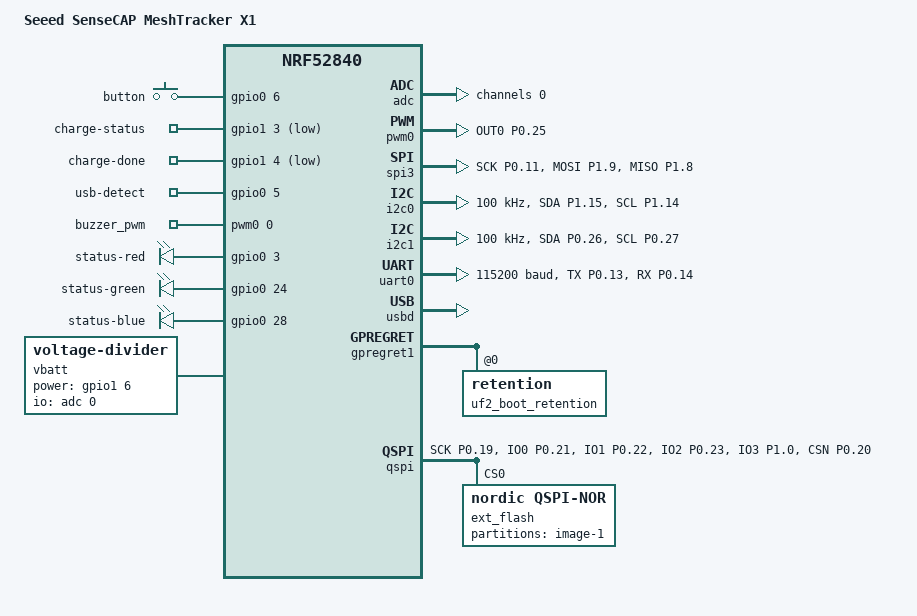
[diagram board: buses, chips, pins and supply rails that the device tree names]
/dts-v1/;
#include <nordic/nrf52840_qiaa.dtsi>
#include <zephyr/dt-bindings/adc/adc.h>
#include <zephyr/dt-bindings/adc/nrf-saadc.h>
#include <zephyr/dt-bindings/gpio/gpio.h>
#include <zephyr/dt-bindings/i2c/i2c.h>

/* TODO: fc 11nov26 every pin and address here is from the sources in README.md, unverified until #169 benches a unit */
/ {
	model = "Seeed SenseCAP MeshTracker X1";
	compatible = "seeed,meshtracker-x1";

	chosen {
		zephyr,sram = &sram0;
		zephyr,flash = &flash0;
		zephyr,code-partition = &slot0_partition;
		zephyr,console = &cdc_acm_uart0;
		zephyr,shell-uart = &cdc_acm_uart0;
	};

	aliases {
		radio-spi = &spi3;
		gnss-uart = &uart0;
		sensor-i2c = &i2c0;
		rtc-i2c = &i2c1;
		buzzer = &buzzer_pwm;
		button = &button_gpio;
		charge-status = &charge_status_gpio;
		charge-done = &charge_done_gpio;
		usb-detect = &usb_detect_gpio;
		led-green = &led_green;
		led-red = &led_red;
		led-blue = &led_blue;
		sensor-rail = &sensor_rail_gpio;
		flash-enable = &flash_enable_gpio;
		haptic-enable = &haptic_enable_gpio;
		rtc-enable = &rtc_enable_gpio;
		gnss-enable = &gnss_enable_gpio;
		gnss-reset = &gnss_reset_gpio;
		gnss-rtc-enable = &gnss_rtc_enable_gpio;
		gnss-sleep = &gnss_sleep_gpio;
		gnss-rtc-wake = &gnss_rtc_wake_gpio;
		gnss-pps = &gnss_pps_gpio;
		radio-reset = &radio_reset_gpio;
		radio-busy = &radio_busy_gpio;
		radio-irq = &radio_irq_gpio;
		rtc-interrupt = &rtc_interrupt_gpio;
		imu-interrupt = &imu_interrupt_gpio;
		magnetometer-interrupt = &magnetometer_interrupt_gpio;
		watchdog0 = &wdt0;
	};

	board_inputs {
		compatible = "gpio-keys";

		/* INFO: fc 11nov26 the one button reads high when pressed, against the SoC's pull-down */
		button_gpio: button {
			gpios = <&gpio0 6 (GPIO_ACTIVE_HIGH | GPIO_PULL_DOWN)>;
			label = "button";
		};

		/* TODO: fc 11nov26 both charger outputs read low when asserted per Meshtastic and SoftRF's T1000-E map, unverified until #169 */
		charge_status_gpio: charge_status {
			gpios = <&gpio1 3 (GPIO_ACTIVE_LOW | GPIO_PULL_UP)>;
			label = "charge-status";
		};

		charge_done_gpio: charge_done {
			gpios = <&gpio1 4 (GPIO_ACTIVE_LOW | GPIO_PULL_UP)>;
			label = "charge-done";
		};

		/* TODO: fc 11nov26 the polarity of the USB-C detect line is in no source, unverified until #169 */
		usb_detect_gpio: usb_detect {
			gpios = <&gpio0 5 GPIO_ACTIVE_HIGH>;
			label = "usb-detect";
		};
	};

	/* INFO: fc 11nov26 a pin map, never a device: disabled so CONFIG_INPUT_GPIO_KEYS cannot claim a rail enable */
	board_power_gpios {
		compatible = "gpio-keys";
		status = "disabled";

		sensor_rail_gpio: sensor_rail {
			gpios = <&gpio1 7 GPIO_ACTIVE_HIGH>;
			label = "sensor-rail";
		};

		flash_enable_gpio: flash_enable {
			gpios = <&gpio0 15 GPIO_ACTIVE_HIGH>;
			label = "flash-enable";
		};

		haptic_enable_gpio: haptic_enable {
			gpios = <&gpio1 5 GPIO_ACTIVE_HIGH>;
			label = "haptic-enable";
		};

		rtc_enable_gpio: rtc_enable {
			gpios = <&gpio0 9 GPIO_ACTIVE_HIGH>;
			label = "rtc-enable";
		};

		gnss_enable_gpio: gnss_enable {
			gpios = <&gpio1 11 GPIO_ACTIVE_HIGH>;
			label = "gnss-enable";
		};

		gnss_rtc_enable_gpio: gnss_rtc_enable {
			gpios = <&gpio1 13 GPIO_ACTIVE_HIGH>;
			label = "gnss-rtc-enable";
		};
	};

	/* INFO: fc 11nov26 the lines the parts' own drivers drive, named so the board says its whole wiring */
	board_part_gpios {
		compatible = "gpio-keys";
		status = "disabled";

		/* TODO: fc 11nov26 SoftRF and Meshtastic hold this AG3335 reset high to reset, unverified until #171 */
		gnss_reset_gpio: gnss_reset {
			gpios = <&gpio0 8 GPIO_ACTIVE_HIGH>;
			label = "gnss-reset";
		};

		gnss_sleep_gpio: gnss_sleep {
			gpios = <&gpio0 30 GPIO_ACTIVE_HIGH>;
			label = "gnss-sleep";
		};

		gnss_rtc_wake_gpio: gnss_rtc_wake {
			gpios = <&gpio0 29 GPIO_ACTIVE_HIGH>;
			label = "gnss-rtc-wake";
		};

		/* TODO: fc 11nov26 SoftRF and Seeed say GNSS PPS, Meshtastic says VCC_ADC, unverified until #171 */
		gnss_pps_gpio: gnss_pps {
			gpios = <&gpio0 4 GPIO_ACTIVE_HIGH>;
			label = "gnss-pps";
		};

		radio_reset_gpio: radio_reset {
			gpios = <&gpio1 10 GPIO_ACTIVE_LOW>;
			label = "radio-reset";
		};

		radio_busy_gpio: radio_busy {
			gpios = <&gpio0 7 GPIO_ACTIVE_HIGH>;
			label = "radio-busy";
		};

		radio_irq_gpio: radio_irq {
			gpios = <&gpio1 1 GPIO_ACTIVE_HIGH>;
			label = "radio-irq";
		};

		rtc_interrupt_gpio: rtc_interrupt {
			gpios = <&gpio0 31 GPIO_ACTIVE_HIGH>;
			label = "rtc-interrupt";
		};

		imu_interrupt_gpio: imu_interrupt {
			gpios = <&gpio1 2 GPIO_ACTIVE_HIGH>;
			label = "imu-interrupt";
		};

		magnetometer_interrupt_gpio: magnetometer_interrupt {
			gpios = <&gpio1 12 GPIO_ACTIVE_HIGH>;
			label = "magnetometer-interrupt";
		};
	};

	pwmleds {
		compatible = "pwm-leds";

		buzzer_pwm: buzzer_pwm {
			pwms = <&pwm0 0 PWM_HZ(2000) PWM_POLARITY_NORMAL>;
		};
	};

	leds {
		compatible = "gpio-leds";

		led_red: led_red {
			gpios = <&gpio0 3 GPIO_ACTIVE_HIGH>;
			label = "status-red";
		};

		led_green: led_green {
			gpios = <&gpio0 24 GPIO_ACTIVE_HIGH>;
			label = "status-green";
		};

		led_blue: led_blue {
			gpios = <&gpio0 28 GPIO_ACTIVE_HIGH>;
			label = "status-blue";
		};
	};

	/* INFO: fc 11nov26 power-gpios is the divider's own enable, so the driver raises it before the first sample */
	vbatt: vbatt {
		compatible = "voltage-divider";
		io-channels = <&adc 0>;
		output-ohms = <100000>;
		full-ohms = <200000>;
		power-gpios = <&gpio1 6 GPIO_ACTIVE_HIGH>;
	};
};

&adc {
	status = "okay";
	#address-cells = <1>;
	#size-cells = <0>;

	channel@0 {
		reg = <0>;
		zephyr,gain = "ADC_GAIN_1_6";
		zephyr,reference = "ADC_REF_INTERNAL";
		zephyr,acquisition-time = <ADC_ACQ_TIME(ADC_ACQ_TIME_MICROSECONDS, 40)>;
		zephyr,input-positive = <NRF_SAADC_AIN0>;
		zephyr,resolution = <12>;
	};
};

&pinctrl {
	spi3_default: spi3_default {
		group1 {
			psels = <NRF_PSEL(SPIM_SCK, 0, 11)>,
				<NRF_PSEL(SPIM_MOSI, 1, 9)>,
				<NRF_PSEL(SPIM_MISO, 1, 8)>;
		};
	};

	spi3_sleep: spi3_sleep {
		group1 {
			psels = <NRF_PSEL(SPIM_SCK, 0, 11)>,
				<NRF_PSEL(SPIM_MOSI, 1, 9)>,
				<NRF_PSEL(SPIM_MISO, 1, 8)>;
			low-power-enable;
		};
	};

	uart0_default: uart0_default {
		group1 {
			psels = <NRF_PSEL(UART_TX, 0, 13)>;
		};

		group2 {
			psels = <NRF_PSEL(UART_RX, 0, 14)>;
		};
	};

	uart0_sleep: uart0_sleep {
		group1 {
			psels = <NRF_PSEL(UART_TX, 0, 13)>, <NRF_PSEL(UART_RX, 0, 14)>;
			low-power-enable;
		};
	};

	i2c0_default: i2c0_default {
		group1 {
			psels = <NRF_PSEL(TWIM_SDA, 1, 15)>, <NRF_PSEL(TWIM_SCL, 1, 14)>;
		};
	};

	i2c0_sleep: i2c0_sleep {
		group1 {
			psels = <NRF_PSEL(TWIM_SDA, 1, 15)>, <NRF_PSEL(TWIM_SCL, 1, 14)>;
			low-power-enable;
		};
	};

	i2c1_default: i2c1_default {
		group1 {
			psels = <NRF_PSEL(TWIM_SDA, 0, 26)>, <NRF_PSEL(TWIM_SCL, 0, 27)>;
		};
	};

	i2c1_sleep: i2c1_sleep {
		group1 {
			psels = <NRF_PSEL(TWIM_SDA, 0, 26)>, <NRF_PSEL(TWIM_SCL, 0, 27)>;
			low-power-enable;
		};
	};

	pwm0_default: pwm0_default {
		group1 {
			psels = <NRF_PSEL(PWM_OUT0, 0, 25)>;
		};
	};

	pwm0_sleep: pwm0_sleep {
		group1 {
			psels = <NRF_PSEL(PWM_OUT0, 0, 25)>;
			low-power-enable;
		};
	};

	qspi_default: qspi_default {
		group1 {
			psels = <NRF_PSEL(QSPI_SCK, 0, 19)>,
				<NRF_PSEL(QSPI_IO0, 0, 21)>,
				<NRF_PSEL(QSPI_IO1, 0, 22)>,
				<NRF_PSEL(QSPI_IO2, 0, 23)>,
				<NRF_PSEL(QSPI_IO3, 1, 0)>,
				<NRF_PSEL(QSPI_CSN, 0, 20)>;
		};
	};

	qspi_sleep: qspi_sleep {
		group1 {
			psels = <NRF_PSEL(QSPI_SCK, 0, 19)>,
				<NRF_PSEL(QSPI_IO0, 0, 21)>,
				<NRF_PSEL(QSPI_IO1, 0, 22)>,
				<NRF_PSEL(QSPI_IO2, 0, 23)>,
				<NRF_PSEL(QSPI_IO3, 1, 0)>;
			low-power-enable;
		};

		group2 {
			psels = <NRF_PSEL(QSPI_CSN, 0, 20)>;
			low-power-enable;
			bias-pull-up;
		};
	};
};

&gpio0 { status = "okay"; };
&gpio1 { status = "okay"; };
&gpiote { status = "okay"; };

/* TODO: fc 11nov26 P0.09 is the RTC's power enable per SoftRF, Meshtastic and Seeed, unverified until #169 */
&uicr {
	nfct-pins-as-gpios;
};

&pwm0 {
	status = "okay";
	pinctrl-0 = <&pwm0_default>;
	pinctrl-1 = <&pwm0_sleep>;
	pinctrl-names = "default", "sleep";
};

&spi3 {
	compatible = "nordic,nrf-spim";
	status = "okay";
	pinctrl-0 = <&spi3_default>;
	pinctrl-1 = <&spi3_sleep>;
	pinctrl-names = "default", "sleep";
	cs-gpios = <&gpio0 12 GPIO_ACTIVE_LOW>;
};

&i2c0 {
	compatible = "nordic,nrf-twim";
	status = "okay";
	pinctrl-0 = <&i2c0_default>;
	pinctrl-1 = <&i2c0_sleep>;
	pinctrl-names = "default", "sleep";
	clock-frequency = <I2C_BITRATE_STANDARD>;
};

&i2c1 {
	compatible = "nordic,nrf-twim";
	status = "okay";
	pinctrl-0 = <&i2c1_default>;
	pinctrl-1 = <&i2c1_sleep>;
	pinctrl-names = "default", "sleep";
	clock-frequency = <I2C_BITRATE_STANDARD>;
};

/* TODO: fc 11nov26 115200 is the AG3335's default per SoftRF and Meshtastic, unverified until #171 */
&uart0 {
	compatible = "nordic,nrf-uarte";
	status = "okay";
	current-speed = <115200>;
	pinctrl-0 = <&uart0_default>;
	pinctrl-1 = <&uart0_sleep>;
	pinctrl-names = "default", "sleep";
};

zephyr_udc0: &usbd {
	status = "okay";

	cdc_acm_uart0: cdc_acm_uart0 {
		compatible = "zephyr,cdc-acm-uart";
	};
};

/* INFO: fc 11nov26 the factory bootloader reads GPREGRET on every boot, so its magic bytes are written through this one area */
&gpregret1 {
	uf2_boot_retention: retention@0 {
		compatible = "zephyr,retention";
		status = "okay";
		reg = <0x0 0x1>;
	};
};

/* TODO: fc 11nov26 the S140 7.3.0 and 0xEA000 boundaries are Meshtastic's, unverified until #169 reads INFO_UF2.TXT off a unit */
&flash0 {
	partitions {
		compatible = "fixed-partitions";
		#address-cells = <1>;
		#size-cells = <1>;

		softdevice_partition: partition@0 {
			label = "softdevice";
			read-only;
			reg = <0x00000000 0x00027000>;
		};

		boot_partition: partition@27000 {
			label = "mcuboot";
			reg = <0x00027000 0x0000e000>;
		};

		slot0_partition: partition@35000 {
			label = "image-0";
			reg = <0x00035000 0x000b5000>;
		};

		storage_partition: partition@ea000 {
			label = "storage";
			reg = <0x000ea000 0x0000a000>;
		};

		uf2_boot_partition: partition@f4000 {
			label = "uf2-bootloader";
			read-only;
			reg = <0x000f4000 0x0000c000>;
		};
	};
};

/* INFO: fc 11nov26 GD25Q64E DS-00484 Rev 1.4 gives the JEDEC ID, tDP 3 us and tRES1 20 us, and single-line never writes its QE bit */
&qspi {
	status = "okay";
	pinctrl-0 = <&qspi_default>;
	pinctrl-1 = <&qspi_sleep>;
	pinctrl-names = "default", "sleep";

	ext_flash: flash@0 {
		compatible = "nordic,qspi-nor";
		reg = <0>;
		sck-frequency = <32000000>;
		jedec-id = [c8 40 17];
		size-in-bytes = <8388608>;
		quad-enable-requirements = "NONE";
		has-dpd;
		t-enter-dpd = <3000>;
		t-exit-dpd = <20000>;

		partitions {
			compatible = "fixed-partitions";
			#address-cells = <1>;
			#size-cells = <1>;

			slot1_partition: partition@0 {
				label = "image-1";
				reg = <0x00000000 0x000b5000>;
			};
		};
	};
};
